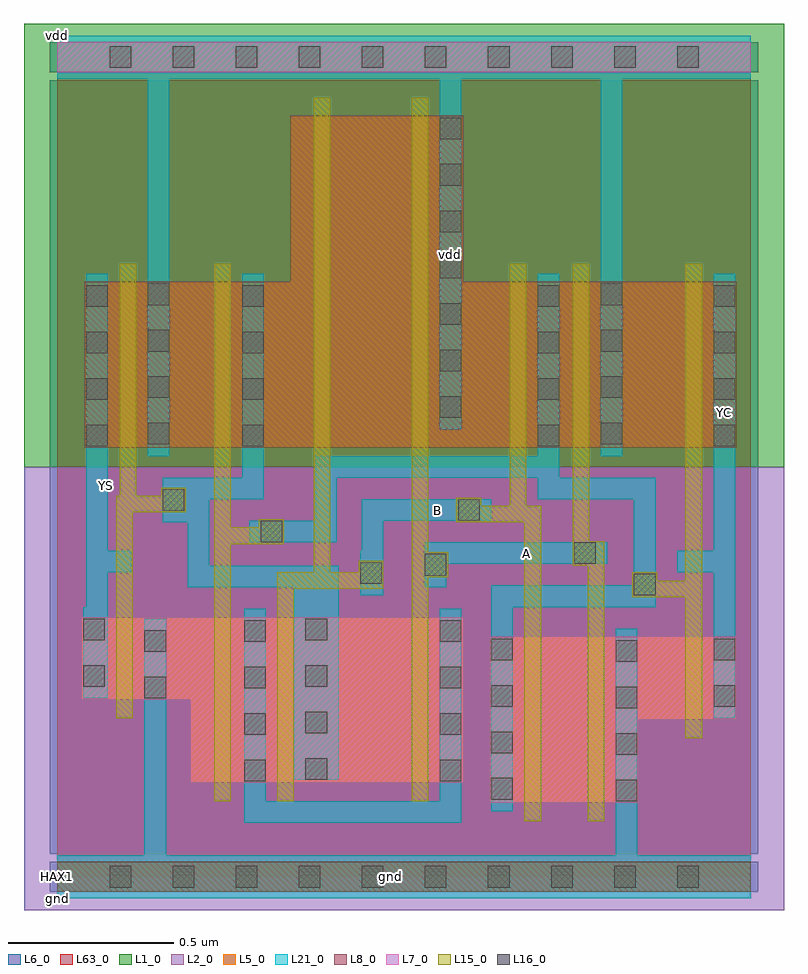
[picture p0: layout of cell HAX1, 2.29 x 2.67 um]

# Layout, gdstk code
import gdstk
lib = gdstk.Library(unit=1e-6, precision=1e-09)
def R(c, l, rs):  # rectangles x0, y0, x1, y1
    for r in rs: c.add(gdstk.rectangle(r[:2], r[2:], *l))
def A(c, l, x, y, w, h, nx, ny, dx, dy):  # array of equal rectangles
    R(c, l, [(x+i*dx, y+j*dy, x+i*dx+w, y+j*dy+h) for i in range(nx) for j in range(ny)])
def P(c, l, *ps):  # polygons
    for p in ps: c.add(gdstk.Polygon(p, *l))
L1_0 = (1, 0)
L2_0 = (2, 0)
L5_0 = (5, 0)
L6_0 = (6, 0)
L7_0 = (7, 0)
L8_0 = (8, 0)
L15_0 = (15, 0)
L16_0 = (16, 0)
L21_0 = (21, 0)
L63_0 = (63, 0)

hax1 = lib.new_cell('HAX1')
R(hax1, L1_0, [(-0.1,1.235,2.19,2.57)])
R(hax1, L2_0, [(-0.1,-0.1,2.19,1.235)])
R(hax1, L5_0, [(0,-0.045,2.09,0.045), (1.303,0.223,1.408,0.723), (1.408,0.223,1.458,0.723), (1.458,0.223,1.598,0.723), (1.598,0.223,1.648,0.723), (0.473,0.283,0.523,0.783), (0.523,0.283,0.663,0.783), (0.663,0.283,0.713,0.783), (0.713,0.283,1.068,0.783), (1.068,0.283,1.118,0.783), (1.118,0.283,1.223,0.783), (1.893,0.473,1.943,0.723), (1.943,0.473,2.047,0.723), (0.073,0.533,0.178,0.783), (0.178,0.533,0.228,0.783), (0.083,1.293,0.188,1.793), (0.188,1.293,0.238,1.793), (0.238,1.293,0.473,1.793), (0.473,1.293,0.523,1.793), (0.773,1.293,0.823,2.293), (0.823,1.293,1.068,2.293), (1.068,1.293,1.118,2.293), (1.363,1.293,1.413,1.793), (1.413,1.293,1.553,1.793), (1.553,1.293,1.603,1.793), (1.603,1.293,1.893,1.793), (1.893,1.293,1.943,1.793), (1.943,1.293,2.047,1.793), (0,2.425,2.09,2.515)])
P(hax1, L5_0, [(0.473,0.783),(0.473,0.283),(0.403,0.283),(0.403,0.533),(0.228,0.533),(0.228,0.783)],
  [(1.893,0.723),(1.893,0.473),(1.753,0.473),(1.753,0.223),(1.648,0.223),(1.648,0.723)],
  [(0.703,1.793),(0.703,2.293),(0.773,2.293),(0.773,1.293),(0.523,1.293),(0.523,1.793)],
  [(1.223,1.793),(1.363,1.793),(1.363,1.293),(1.118,1.293),(1.118,2.293),(1.223,2.293)])
R(hax1, L6_0, [(-0.023,-0.045,2.113,0.045), (-0.023,-0.045,2.113,0.045), (-0.023,0.07,2.113,1.235), (-0.023,1.235,2.113,2.4), (-0.023,2.425,2.113,2.515), (-0.023,2.425,2.113,2.515)])
R(hax1, L7_0, [(1.303,0.223,1.408,0.723), (1.408,0.223,1.458,0.723), (1.458,0.223,1.598,0.723), (1.598,0.223,1.648,0.723), (0.473,0.283,0.523,0.783), (0.523,0.283,0.663,0.783), (0.663,0.283,0.713,0.783), (0.713,0.283,1.068,0.783), (1.068,0.283,1.118,0.783), (1.118,0.283,1.223,0.783), (1.893,0.473,1.943,0.723), (1.943,0.473,2.047,0.723), (0.073,0.533,0.178,0.783), (0.178,0.533,0.228,0.783), (0,2.425,2.09,2.515)])
P(hax1, L7_0, [(0.473,0.783),(0.473,0.283),(0.403,0.283),(0.403,0.533),(0.228,0.533),(0.228,0.783)],
  [(1.893,0.723),(1.893,0.473),(1.753,0.473),(1.753,0.223),(1.648,0.223),(1.648,0.723)])
R(hax1, L8_0, [(0,-0.045,2.09,0.045), (0.083,1.293,0.188,1.793), (0.188,1.293,0.238,1.793), (0.238,1.293,0.473,1.793), (0.473,1.293,0.523,1.793), (0.773,1.293,0.823,2.293), (0.823,1.293,1.068,2.293), (1.068,1.293,1.118,2.293), (1.363,1.293,1.413,1.793), (1.413,1.293,1.553,1.793), (1.553,1.293,1.603,1.793), (1.603,1.293,1.893,1.793), (1.893,1.293,1.943,1.793), (1.943,1.293,2.047,1.793)])
P(hax1, L8_0, [(0.703,1.793),(0.703,2.293),(0.773,2.293),(0.773,1.293),(0.523,1.293),(0.523,1.793)],
  [(1.223,1.793),(1.363,1.793),(1.363,1.293),(1.118,1.293),(1.118,2.293),(1.223,2.293)])
R(hax1, L15_0, [(1.408,0.168,1.458,0.223), (1.598,0.168,1.648,0.223), (1.408,0.223,1.458,0.723), (1.598,0.223,1.648,0.723), (0.473,0.228,0.523,0.283), (0.663,0.228,0.713,0.283), (1.068,0.228,1.118,0.283), (0.473,0.283,0.523,0.783), (0.663,0.283,0.713,0.783), (1.068,0.283,1.118,0.783), (1.893,0.418,1.943,0.473), (1.893,0.473,1.943,0.723), (0.178,0.478,0.228,0.533), (0.178,0.533,0.228,0.783), (0.188,1.293,0.238,1.793), (0.473,1.293,0.523,1.793), (0.773,1.293,0.823,2.293), (1.068,1.293,1.118,2.293), (1.363,1.293,1.413,1.793), (1.553,1.293,1.603,1.793), (1.893,1.293,1.943,1.793), (0.188,1.793,0.238,1.848), (0.473,1.793,0.523,1.848), (1.363,1.793,1.413,1.848), (1.553,1.793,1.603,1.848), (1.893,1.793,1.943,1.848), (0.773,2.293,0.823,2.348), (1.068,2.293,1.118,2.348)])
P(hax1, L15_0, [(0.178,1.148),(0.188,1.148),(0.188,1.293),(0.238,1.293),(0.238,1.148),(0.313,1.148),(0.313,1.173),(0.388,1.173),(0.388,1.098),(0.228,1.098),(0.228,0.783),(0.178,0.783)],
  [(0.473,1.293),(0.523,1.293),(0.523,1.053),(0.608,1.053),(0.608,1.078),(0.683,1.078),(0.683,1.002),(0.523,1.002),(0.523,0.783),(0.473,0.783)],
  [(0.663,0.918),(0.773,0.918),(0.773,1.293),(0.823,1.293),(0.823,0.918),(0.908,0.918),(0.908,0.953),(0.983,0.953),(0.983,0.868),(0.713,0.868),(0.713,0.783),(0.663,0.783)],
  [(1.068,1.293),(1.118,1.293),(1.118,0.978),(1.178,0.978),(1.178,0.903),(1.118,0.903),(1.118,0.783),(1.068,0.783)],
  [(1.408,1.068),(1.203,1.068),(1.203,1.143),(1.278,1.143),(1.278,1.118),(1.363,1.118),(1.363,1.293),(1.413,1.293),(1.413,1.118),(1.458,1.118),(1.458,0.723),(1.408,0.723)],
  [(1.598,0.938),(1.553,0.938),(1.553,1.293),(1.603,1.293),(1.603,1.012),(1.648,1.012),(1.648,0.723),(1.598,0.723)],
  [(1.893,0.843),(1.733,0.843),(1.733,0.918),(1.808,0.918),(1.808,0.893),(1.893,0.893),(1.893,1.293),(1.943,1.293),(1.943,0.723),(1.893,0.723)])
A(hax1, L16_0, 0.158, -0.033, 0.065, 0.066, 10, 1, 0.19, 0)
A(hax1, L16_0, 1.683, 0.228, 0.065, 0.065, 1, 4, 0, 0.14)
A(hax1, L16_0, 1.308, 0.233, 0.065, 0.065, 1, 4, 0, 0.14)
A(hax1, L16_0, 0.563, 0.288, 0.065, 0.065, 1, 4, 0, 0.14)
A(hax1, L16_0, 1.153, 0.288, 0.065, 0.065, 1, 4, 0, 0.14)
A(hax1, L16_0, 0.748, 0.293, 0.065, 0.065, 1, 4, 0, 0.14)
A(hax1, L16_0, 0.088, 1.298, 0.065, 0.065, 1, 4, 0, 0.14)
A(hax1, L16_0, 0.558, 1.298, 0.065, 0.065, 1, 4, 0, 0.14)
A(hax1, L16_0, 1.448, 1.298, 0.065, 0.065, 1, 4, 0, 0.14)
A(hax1, L16_0, 1.978, 1.298, 0.065, 0.065, 1, 4, 0, 0.14)
A(hax1, L16_0, 0.273, 1.303, 0.065, 0.065, 1, 4, 0, 0.14)
A(hax1, L16_0, 1.638, 1.303, 0.065, 0.065, 1, 4, 0, 0.14)
A(hax1, L16_0, 1.153, 1.383, 0.065, 0.065, 1, 4, 0, 0.14)
A(hax1, L16_0, 0.158, 2.438, 0.065, 0.065, 10, 1, 0.19, 0)
R(hax1, L16_0, [(1.978,0.513,2.043,0.578), (0.263,0.538,0.328,0.603), (0.078,0.573,0.143,0.638), (1.978,0.653,2.043,0.718), (0.263,0.678,0.328,0.743), (0.078,0.713,0.143,0.778), (1.738,0.848,1.803,0.913), (0.913,0.883,0.978,0.948), (1.108,0.908,1.173,0.973), (1.558,0.943,1.623,1.008), (0.613,1.008,0.678,1.073), (1.208,1.073,1.273,1.138), (0.318,1.103,0.383,1.168), (1.153,1.943,1.218,2.007), (1.153,2.083,1.218,2.148), (1.153,2.223,1.218,2.288)])
P(hax1, L21_0, [(0,2.405),(0,2.535),(2.09,2.535),(2.09,2.405),(1.703,2.405),(1.703,1.268),(1.638,1.268),(1.638,2.405),(1.218,2.405),(1.218,1.348),(1.153,1.348),(1.153,2.405),(0.338,2.405),(0.338,1.268),(0.273,1.268),(0.273,2.405)],
  [(0,-0.065),(0,0.065),(0.263,0.065),(0.263,0.778),(0.328,0.778),(0.328,0.065),(1.683,0.065),(1.683,0.748),(1.748,0.748),(1.748,0.065),(2.09,0.065),(2.09,-0.065)],
  [(1.738,0.878),(1.738,1.138),(1.448,1.138),(1.448,1.203),(0.843,1.203),(0.843,1.008),(0.578,1.008),(0.578,1.073),(0.778,1.073),(0.778,1.268),(1.448,1.268),(1.448,1.818),(1.513,1.818),(1.513,1.203),(1.803,1.203),(1.803,0.813),(1.373,0.813),(1.373,0.198),(1.308,0.198),(1.308,0.878)],
  [(1.108,1.008),(1.658,1.008),(1.658,0.943),(1.173,0.943),(1.173,0.873),(1.108,0.873)],
  [(0.918,0.983),(0.918,1.138),(1.308,1.138),(1.308,1.073),(0.983,1.073),(0.983,0.848),(0.913,0.848),(0.913,0.983)],
  [(1.978,0.478),(1.978,0.918),(1.868,0.918),(1.868,0.983),(1.978,0.983),(1.978,1.818),(2.043,1.818),(2.043,0.478)],
  [(0.318,1.068),(0.318,1.203),(0.558,1.203),(0.558,1.818),(0.623,1.818),(0.623,1.138),(0.458,1.138),(0.458,0.938),(0.848,0.938),(0.848,0.293),(0.713,0.293),(0.713,0.873),(0.393,0.873),(0.393,1.068)],
  [(0.088,0.813),(0.088,1.818),(0.153,1.818),(0.153,0.983),(0.223,0.983),(0.223,0.918),(0.153,0.918),(0.153,0.538),(0.078,0.538),(0.078,0.813)],
  [(1.153,0.228),(1.153,0.808),(1.218,0.808),(1.218,0.163),(0.563,0.163),(0.563,0.808),(0.628,0.808),(0.628,0.228)])
R(hax1, L63_0, [(0,0,2.09,2.47)])
hax1.add(gdstk.Label('vdd', (1.185,1.876), layer=21, texttype=1))
hax1.add(gdstk.Label('gnd', (1.005,0), layer=21, texttype=1))
hax1.add(gdstk.Label('A', (1.415,0.975), layer=21, texttype=1))
hax1.add(gdstk.Label('B', (1.145,1.105), layer=21, texttype=1))
hax1.add(gdstk.Label('YC', (2.01,1.4), layer=21, texttype=1))
hax1.add(gdstk.Label('YS', (0.15,1.178), layer=21, texttype=1))
hax1.add(gdstk.Label('vdd', (0,2.535), layer=21, texttype=2))
hax1.add(gdstk.Label('gnd', (0,-0.065), layer=21, texttype=2))
hax1.add(gdstk.Label('HAX1', (0,0), layer=63, texttype=1))

lib.write_gds('HAX1.gds')
